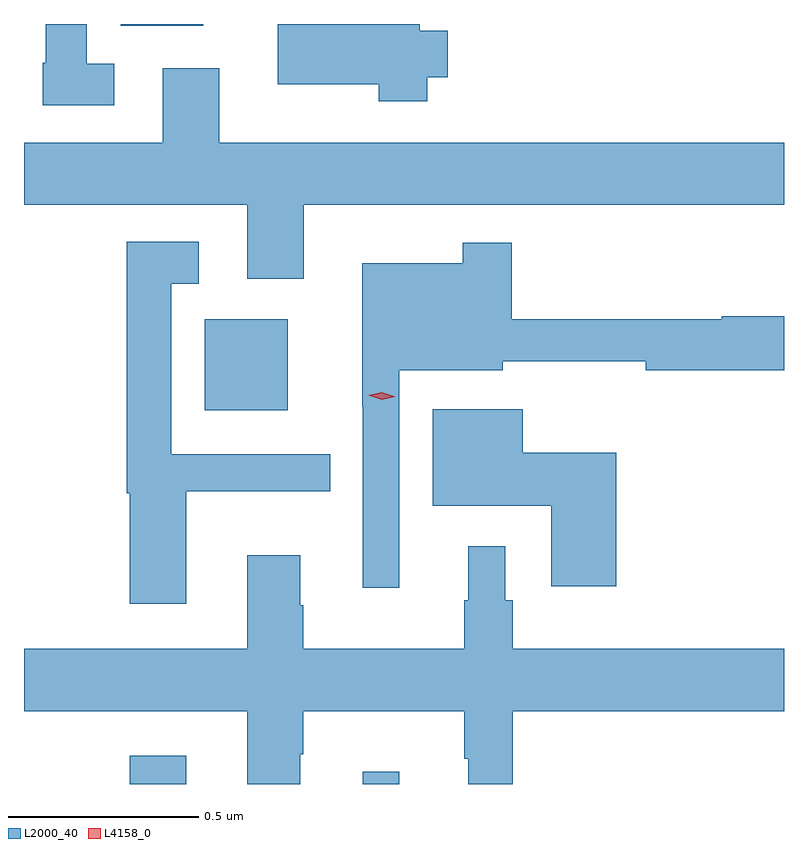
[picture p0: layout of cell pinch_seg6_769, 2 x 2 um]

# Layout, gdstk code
import gdstk
lib = gdstk.Library(unit=1e-6, precision=1e-09)
def R(c, l, rs):  # rectangles x0, y0, x1, y1
    for r in rs: c.add(gdstk.rectangle(r[:2], r[2:], *l))
def P(c, l, *ps):  # polygons
    for p in ps: c.add(gdstk.Polygon(p, *l))
L2000_40 = (2000, 40)
L4158_0 = (4158, 0)

pinch_seg6_769 = lib.new_cell('pinch_seg6_769')
R(pinch_seg6_769, L2000_40, [(505.892,941.816,506.041,941.89), (506.505,941.816,506.601,941.848), (506.09,942.8,506.308,943.039), (505.868,943.811,506.086,943.816)])
P(pinch_seg6_769, L2000_40, [(505.852,943.711),(505.779,943.711),(505.779,943.816),(505.671,943.816),(505.671,943.714),(505.663,943.714),(505.663,943.602),(505.852,943.602)],
  [(506.675,943.676),(506.729,943.676),(506.729,943.798),(506.656,943.798),(506.656,943.816),(506.282,943.816),(506.282,943.658),(506.547,943.658),(506.547,943.613),(506.675,943.613)],
  [(506.35,943.34),(507.614,943.34),(507.614,943.504),(506.128,943.504),(506.128,943.699),(505.979,943.699),(505.979,943.504),(505.614,943.504),(505.614,943.34),(506.201,943.34),(506.201,943.146),(506.35,943.146)],
  [(506.041,942.587),(506.42,942.587),(506.42,942.684),(506.001,942.684),(506.001,943.133),(506.074,943.133),(506.074,943.243),(505.885,943.243),(505.885,942.581),(505.892,942.581),(505.892,942.291),(506.041,942.291)],
  [(506.601,942.905),(506.874,942.905),(506.874,942.928),(507.25,942.928),(507.25,942.905),(507.614,942.905),(507.614,943.047),(507.45,943.047),(507.45,943.039),(506.897,943.039),(506.897,943.24),(506.769,943.24),(506.769,943.186),(506.504,943.186),(506.504,942.809),(506.505,942.809),(506.505,942.333),(506.601,942.333)],
  [(507.173,942.688),(506.926,942.688),(506.926,942.802),(506.69,942.802),(506.69,942.548),(507.002,942.548),(507.002,942.336),(507.173,942.336)],
  [(506.341,941.894),(506.349,941.894),(506.349,942.008),(506.772,942.008),(506.772,941.882),(506.783,941.882),(506.783,941.816),(506.9,941.816),(506.9,942.008),(507.614,942.008),(507.614,942.172),(506.9,942.172),(506.9,942.299),(506.88,942.299),(506.88,942.442),(506.783,942.442),(506.783,942.299),(506.772,942.299),(506.772,942.172),(506.349,942.172),(506.349,942.287),(506.341,942.287),(506.341,942.418),(506.201,942.418),(506.201,942.172),(505.614,942.172),(505.614,942.008),(506.201,942.008),(506.201,941.816),(506.341,941.816)])
P(pinch_seg6_769, L4158_0, [(506.555,942.827),(506.52,942.839),(506.52,942.839),(506.52,942.839),(506.556,942.847),(506.591,942.835),(506.591,942.835),(506.591,942.835)])

lib.write_gds('pinch_seg6_769.gds')
